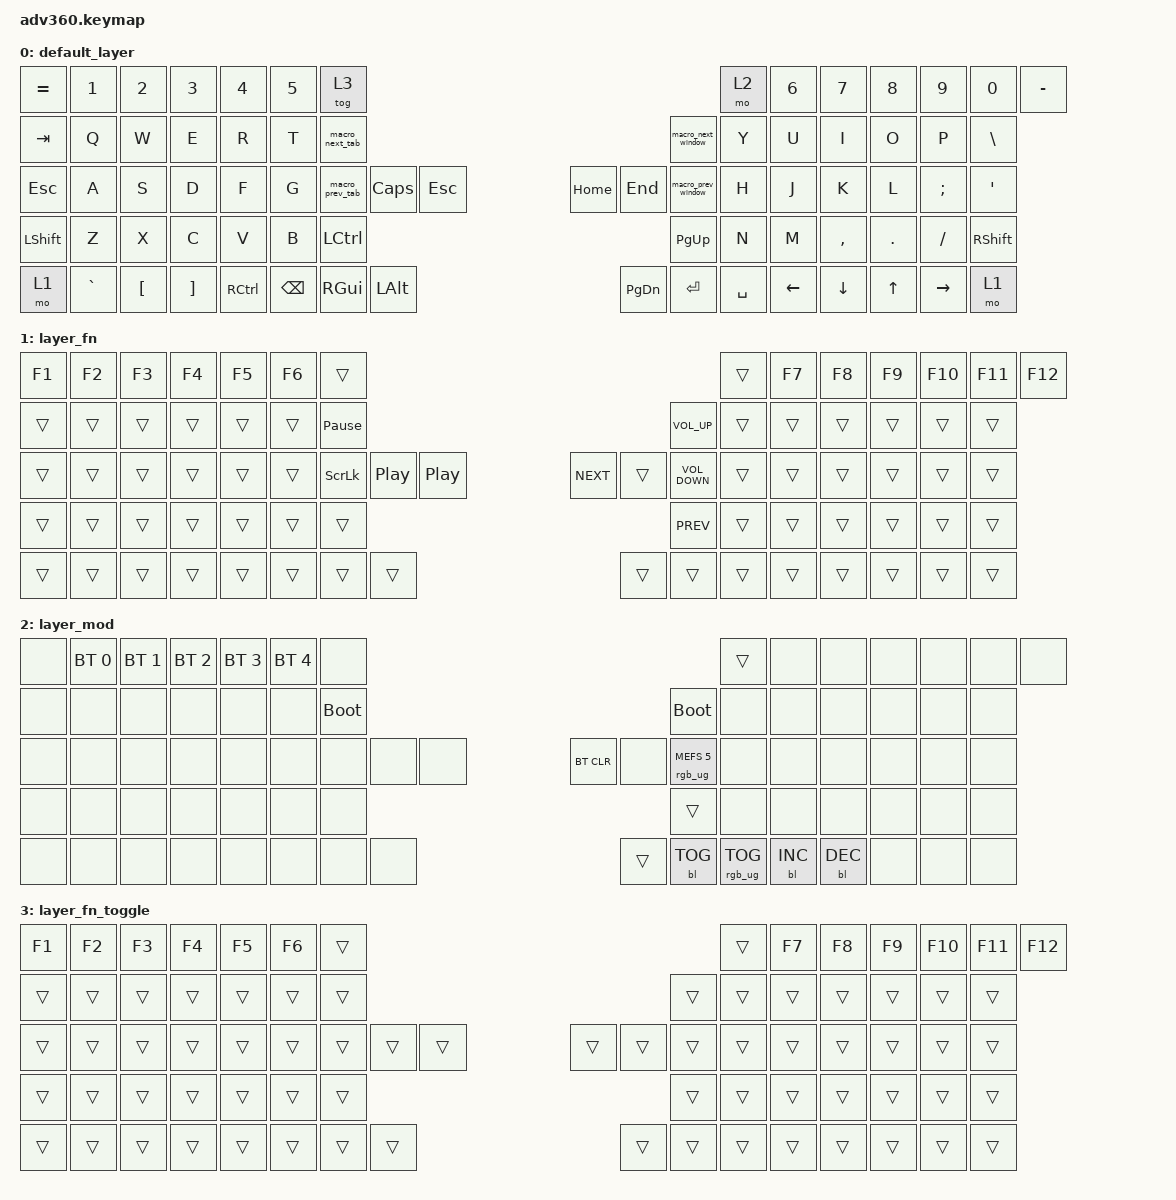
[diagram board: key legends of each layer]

/*
 * Copyright (c) 2020 The ZMK Contributors
 *
 * SPDX-License-Identifier: MIT
 */


/* THIS FILE WAS GENERATED!
 *
 * This file was generated automatically. You may or may not want to
 * edit it directly.
 */

#include <behaviors.dtsi>
#include <dt-bindings/zmk/keys.h>
#include <dt-bindings/zmk/bt.h>
#include <dt-bindings/zmk/rgb.h>
#include <dt-bindings/zmk/backlight.h>

/ {
  behaviors {
    #include "macros.dtsi"
    #include "version.dtsi"

    hm: homerow_mods {
        compatible = "zmk,behavior-hold-tap";
        label = "HOMEROW_MODS";
        #binding-cells = <2>;
        tapping-term-ms = <200>;
        quick_tap_ms = <175>;
        flavor = "tap-preferred";
        bindings = <&kp>, <&kp>;
    };
  };

    keymap {
        compatible = "zmk,keymap";


        default_layer {
            bindings = <
 &kp EQUAL     &kp N1    &kp N2    &kp N3     &kp N4  &kp N5                     &tog 3                                                                          &mo 2  &kp N6    &kp N7     &kp N8   &kp N9     &kp N0  &kp MINUS
   &kp TAB      &kp Q     &kp W     &kp E      &kp R   &kp T            &macro_next_tab                                                             &macro_next_window   &kp Y     &kp U      &kp I    &kp O      &kp P   &kp BSLH
   &kp ESC      &kp A     &kp S     &kp D      &kp F   &kp G            &macro_prev_tab  &kp CAPS    &kp ESC                   &kp HOME    &kp END  &macro_prev_window   &kp H     &kp J      &kp K    &kp L   &kp SEMI    &kp SQT
 &kp LSHFT      &kp Z     &kp X     &kp C      &kp V   &kp B                                       &kp LCTRL                  &kp PG_UP                                  &kp N     &kp M  &kp COMMA  &kp DOT  &kp SLASH  &kp RSHFT
     &mo 1  &kp GRAVE  &kp LBKT  &kp RBKT  &kp RCTRL                           &kp BSPC  &kp RGUI   &kp LALT                  &kp PG_DN  &kp ENTER           &kp SPACE          &kp LEFT   &kp DOWN   &kp UP  &kp RIGHT      &mo 1
            >;
        };

        layer_fn {
            bindings = <
 &kp F1  &kp F2  &kp F3  &kp F4  &kp F5  &kp F6                     &trans                                                                                     &trans  &kp F7  &kp F8  &kp F9  &kp F10  &kp F11  &kp F12
 &trans  &trans  &trans  &trans  &trans  &trans            &kp PAUSE_BREAK                                                                               &kp C_VOL_UP  &trans  &trans  &trans   &trans   &trans   &trans
 &trans  &trans  &trans  &trans  &trans  &trans                   &kp SLCK  &kp C_PLAY_PAUSE  &kp C_PLAY_PAUSE                  &kp C_NEXT  &trans  &kp C_VOLUME_DOWN  &trans  &trans  &trans   &trans   &trans   &trans
 &trans  &trans  &trans  &trans  &trans  &trans                                                         &trans                  &kp C_PREV                             &trans  &trans  &trans   &trans   &trans   &trans
 &trans  &trans  &trans  &trans  &trans                             &trans            &trans            &trans                      &trans  &trans             &trans          &trans  &trans   &trans   &trans   &trans
            >;
        };

        layer_mod {
            bindings = <
  &none  &bt BT_SEL 0  &bt BT_SEL 1  &bt BT_SEL 2  &bt BT_SEL 3  &bt BT_SEL 4                  &none                                                                          &trans   &none       &none       &none   &none   &none   &none
  &none         &none         &none         &none         &none         &none            &bootloader                                                                     &bootloader   &none       &none       &none   &none   &none   &none
  &none         &none         &none         &none         &none         &none                  &none   &none   &none                  &bt BT_CLR       &none  &rgb_ug RGB_MEFS_CMD 5   &none       &none       &none   &none   &none   &none
  &none         &none         &none         &none         &none         &none                                  &none                      &trans                                       &none       &none       &none   &none   &none   &none
  &none         &none         &none         &none         &none                                &none   &none   &none                      &trans  &bl BL_TOG         &rgb_ug RGB_TOG          &bl BL_INC  &bl BL_DEC   &none   &none   &none
            >;
        };

        layer_fn_toggle {
            bindings = <
 &kp F1  &kp F2  &kp F3  &kp F4  &kp F5  &kp F6            &trans                                                  &trans  &kp F7  &kp F8  &kp F9  &kp F10  &kp F11  &kp F12
 &trans  &trans  &trans  &trans  &trans  &trans            &trans                                                  &trans  &trans  &trans  &trans   &trans   &trans   &trans
 &trans  &trans  &trans  &trans  &trans  &trans            &trans  &trans  &trans                  &trans  &trans  &trans  &trans  &trans  &trans   &trans   &trans   &trans
 &trans  &trans  &trans  &trans  &trans  &trans                            &trans                  &trans                  &trans  &trans  &trans   &trans   &trans   &trans
 &trans  &trans  &trans  &trans  &trans                    &trans  &trans  &trans                  &trans  &trans  &trans          &trans  &trans   &trans   &trans   &trans
            >;
        };

    };
};
